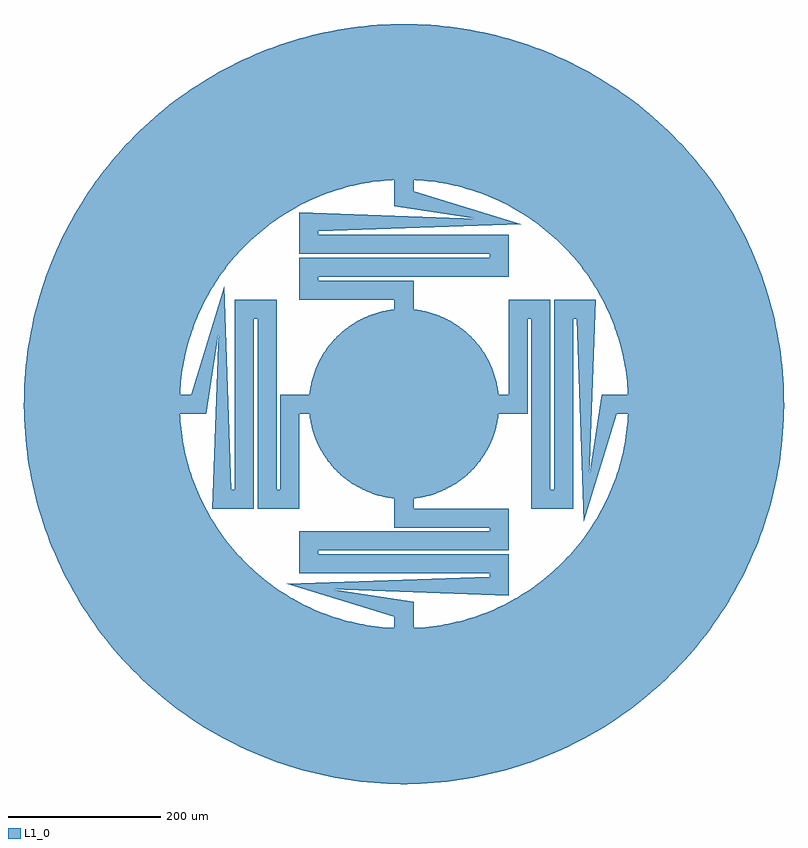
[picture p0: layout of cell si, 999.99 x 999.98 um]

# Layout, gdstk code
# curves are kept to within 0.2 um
import gdstk
lib = gdstk.Library(unit=1e-6, precision=1e-09)
def P(c, l, *ps):  # polygons
    for p in ps: c.add(gdstk.Polygon(p, *l))
L1_0 = (1, 0)

c_si = lib.new_cell('si')
P(c_si, L1_0, [(-1.094,-124.995),(-14.19,-124.192),(-24.989,-122.477),(-37.69,-119.183),(-47.962,-115.433),(-57.867,-110.799),(-69.162,-104.123),(-79.695,-96.3),(-89.35,-87.416),(-98.021,-77.569),(-104.425,-68.706),(-111.051,-57.381),(-116.454,-45.425),(-119.979,-35.073),(-122.994,-22.304),(-124.473,-11.469),(-124.989,1.641),(-124.368,12.558),(-122.366,25.525),(-119.017,38.211),(-115.222,48.466),(-109.507,60.277),(-103.82,69.617),(-95.951,80.115),(-87.024,89.732),(-77.14,98.359),(-68.248,104.724),(-56.895,111.301),(-46.95,115.848),(-36.645,119.508),(-23.917,122.691),(-10.925,124.522),(2.188,124.981),(15.276,124.063),(26.06,122.253),(36.645,119.508),(48.97,115.008),(60.755,109.242),(70.07,103.514),(80.535,95.599),(88.582,88.195),(97.338,78.424),(103.82,69.617),(109.507,60.277),(115.222,48.466),(119.667,36.122),(122.794,23.38),(124.368,12.558),(124.999,-0.547),(124.473,-11.469),(122.585,-24.453),(119.346,-37.168),(114.793,-49.473),(108.975,-61.233),(103.206,-70.523),(96.648,-79.273),(87.806,-88.967),(79.695,-96.3),(69.162,-104.123),(57.867,-110.799),(47.962,-115.433),(37.69,-119.183),(24.989,-122.477),(12.014,-124.421)],
  [(-4.375,-499.981),(-30.609,-499.062),(-56.759,-496.768),(-82.752,-493.105),(-99.958,-489.907),(-125.531,-483.985),(-150.759,-476.73),(-175.57,-468.161),(-199.898,-458.302),(-215.815,-451.025),(-239.188,-439.078),(-261.902,-425.92),(-283.894,-411.588),(-305.103,-396.121),(-325.472,-379.563),(-344.944,-361.959),(-357.4,-349.665),(-375.258,-330.426),(-392.082,-310.277),(-407.826,-289.272),(-417.699,-274.822),(-431.547,-252.522),(-440.12,-237.265),(-451.965,-213.839),(-462.565,-189.825),(-471.89,-165.287),(-479.914,-140.294),(-486.616,-114.914),(-491.976,-89.217),(-494.797,-71.945),(-497.891,-45.878),(-499.612,-19.685),(-499.957,6.563),(-499.421,24.056),(-498.273,41.519),(-495.408,67.612),(-492.738,84.908),(-487.603,110.651),(-483.432,127.648),(-478.668,144.488),(-473.318,161.151),(-464.209,185.77),(-457.423,201.902),(-450.077,217.786),(-442.179,233.404),(-433.74,248.736),(-424.769,263.763),(-415.278,278.467),(-403.682,295),(0,295),(-20.635,294.277),(-36.051,292.789),(-56.444,289.55),(-71.562,286.189),(-86.483,282.039),(-106,275.298),(-120.302,269.356),(-138.849,260.281),(-156.715,249.931),(-169.616,241.362),(-186.084,228.906),(-197.841,218.824),(-209.052,208.14),(-223.1,193.006),(-232.922,181.032),(-245.014,164.295),(-255.907,146.754),(-263.256,133.122),(-269.88,119.122),(-277.551,99.952),(-283.863,80.292),(-287.686,65.284),(-291.548,45),(-293.507,29.638),(-294.862,9.034),(-294.929,-6.453),(-293.756,-27.068),(-291.93,-42.447),(-288.246,-62.764),(-284.555,-77.805),(-280.079,-92.632),(-272.913,-111.997),(-264.411,-130.813),(-257.181,-144.509),(-246.443,-162.145),(-237.593,-174.855),(-228.089,-187.084),(-214.444,-202.58),(-203.517,-213.556),(-188.08,-227.268),(-171.722,-239.868),(-158.896,-248.55),(-141.121,-259.056),(-127.331,-266.105),(-113.19,-272.421),(-93.856,-279.671),(-79.05,-284.211),(-58.975,-289.045),(-43.724,-291.742),(-23.21,-294.086),(-2.581,-294.989),(12.904,-294.718),(33.488,-293.093),(48.823,-290.932),(69.055,-286.804),(84.011,-282.785),(98.737,-277.986),(117.94,-270.398),(136.566,-261.486),(150.101,-253.958),(163.222,-245.731),(180.011,-233.711),(195.918,-220.547),(207.223,-209.961),(217.956,-198.796),(228.089,-187.084),(237.593,-174.855),(246.443,-162.145),(254.613,-148.988),(262.081,-135.42),(268.827,-121.479),(274.832,-107.203),(280.079,-92.632),(284.555,-77.805),(288.246,-62.764),(291.143,-47.55),(293.237,-32.205),(294.523,-16.771),(294.997,-1.291),(294.658,14.193),(293.507,29.638),(291.548,45),(288.784,60.239),(285.225,75.312),(280.879,90.177),(275.759,104.794),(269.88,119.122),(263.256,133.122),(255.907,146.754),(247.852,159.982),(239.114,172.77),(229.718,185.081),(219.688,196.881),(209.052,208.14),(197.841,218.824),(186.084,228.906),(169.616,241.362),(152.317,252.635),(134.272,262.671),(115.569,271.42),(106,275.298),(91.405,280.482),(71.562,286.189),(51.367,290.493),(30.921,293.375),(15.482,294.593),(0,295),(-403.682,295),(-394.782,306.834),(-383.802,320.462),(-366.455,340.163),(-348.098,358.926),(-335.323,370.888),(-322.138,382.396),(-308.558,393.436),(-294.6,403.994),(-272.992,418.898),(-250.631,432.648),(-227.58,445.205),(-211.86,452.897),(-195.88,460.034),(-171.467,469.68),(-154.925,475.393),(-138.193,480.523),(-112.783,487.114),(-87.063,492.362),(-69.779,495.107),(-52.409,497.246),(-26.241,499.311),(0,500),(17.498,499.694),(43.699,498.087),(69.779,495.107),(95.667,490.763),(121.291,485.065),(146.581,478.031),(171.467,469.68),(195.88,460.034),(211.86,452.897),(235.337,441.154),(258.165,428.195),(280.281,414.056),(294.6,403.994),(315.396,387.976),(335.323,370.888),(354.326,352.779),(372.352,333.697),(389.352,313.696),(405.279,292.83),(415.278,278.467),(429.321,256.289),(442.179,233.404),(453.819,209.876),(464.209,185.77),(473.318,161.151),(481.124,136.089),(487.603,110.651),(491.176,93.519),(495.408,67.612),(498.273,41.519),(499.421,24.056),(499.995,-2.188),(499.191,-28.425),(497.012,-54.584),(494.797,-71.945),(490.339,-97.813),(486.616,-114.914),(479.914,-140.294),(471.89,-165.287),(462.565,-189.825),(451.965,-213.839),(440.12,-237.265),(427.061,-260.036),(412.826,-282.09),(402.701,-296.365),(386.592,-317.091),(369.418,-336.943),(351.225,-355.866),(332.065,-373.809),(311.989,-390.721),(291.054,-406.556),(269.316,-421.271),(254.408,-430.438),(231.467,-443.196),(207.888,-454.733),(183.737,-465.017),(159.079,-474.019),(142.392,-479.296),(117.042,-486.108),(91.369,-491.581),(65.444,-495.699),(39.339,-498.45),(13.125,-499.828)])
c_si.add(gdstk.FlexPath([(0,0),(0,150),(-125,150),(-125,180),(125,180),(125,210),(-125,210),(-125,240),(125,240),(125,240),(0,270),(0,295)], 25, ends="flush", simple_path=True, layer=1, datatype=0))  # L1_0
c_si.add(gdstk.FlexPath([(0,0),(-150,0),(-150,-125),(-180,-125),(-180,125),(-210,125),(-210,-125),(-240,-125),(-240,125),(-240,125),(-270,0),(-295,0)], 25, ends="flush", simple_path=True, layer=1, datatype=0))  # L1_0
c_si.add(gdstk.FlexPath([(0,0),(0,-150),(125,-150),(125,-180),(-125,-180),(-125,-210),(125,-210),(125,-240),(-125,-240),(-125,-240),(0,-270),(0,-295)], 25, ends="flush", simple_path=True, layer=1, datatype=0))  # L1_0
c_si.add(gdstk.FlexPath([(0,0),(150,0),(150,125),(180,125),(180,-125),(210,-125),(210,125),(240,125),(240,-125),(240,-125),(270,0),(295,0)], 25, ends="flush", simple_path=True, layer=1, datatype=0))  # L1_0

lib.write_gds('si.gds')
